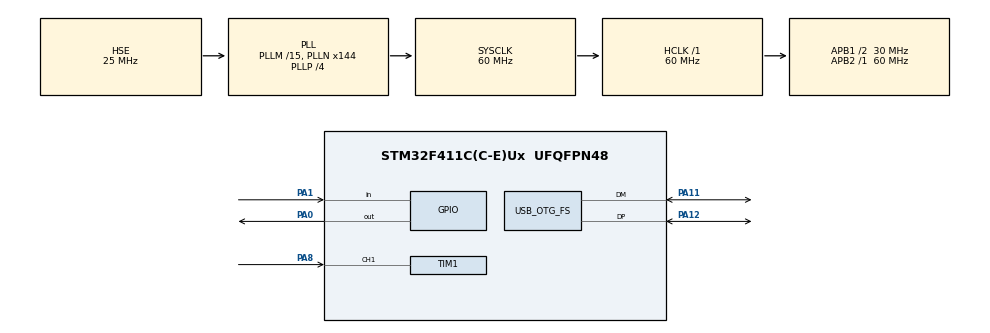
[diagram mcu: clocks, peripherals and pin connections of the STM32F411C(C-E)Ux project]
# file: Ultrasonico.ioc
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Mcu.Family=STM32F4
Mcu.Name=STM32F411C(C-E)Ux
Mcu.Package=UFQFPN48
NVIC.OTG_FS_IRQn=true\:0\:0\:false\:false\:true\:false\:true\:true
NVIC.PriorityGroup=NVIC_PRIORITYGROUP_4
NVIC.TIM1_CC_IRQn=true\:0\:0\:false\:false\:true\:true\:true\:true
PA0-WKUP.Signal=GPIO_Output
PA1.Signal=GPIO_Input
PA11.Mode=Device_Only
PA11.Signal=USB_OTG_FS_DM
PA12.Mode=Device_Only
PA12.Signal=USB_OTG_FS_DP
PA8.Signal=S_TIM1_CH1
PH0\ -\ OSC_IN.Mode=HSE-External-Oscillator
PH0\ -\ OSC_IN.Signal=RCC_OSC_IN
PH1\ -\ OSC_OUT.Mode=HSE-External-Oscillator
PH1\ -\ OSC_OUT.Signal=RCC_OSC_OUT
ProjectManager.HeapSize=0x200
ProjectManager.StackSize=0x400
ProjectManager.TargetToolchain=STM32CubeIDE
RCC.48MHZClocksFreq_Value=48000000
RCC.AHBFreq_Value=60000000
RCC.APB1CLKDivider=RCC_HCLK_DIV2
RCC.APB1Freq_Value=30000000
RCC.APB1TimFreq_Value=60000000
RCC.APB2Freq_Value=60000000
RCC.APB2TimFreq_Value=60000000
RCC.CortexFreq_Value=60000000
RCC.HCLKFreq_Value=60000000
RCC.HSE_VALUE=25000000
RCC.HSI_VALUE=16000000
RCC.LSE_VALUE=32768
RCC.PLLM=15
RCC.PLLN=144
RCC.PLLP=RCC_PLLP_DIV4
RCC.PLLQ=5
RCC.SYSCLKFreq_VALUE=60000000
RCC.SYSCLKSource=RCC_SYSCLKSOURCE_PLLCLK
RCC.VCOOutputFreq_Value=240000000
SH.S_TIM1_CH1.0=TIM1_CH1,Input_Capture1_from_TI1
TIM1.Channel-Input_Capture1_from_TI1=TIM_CHANNEL_1
TIM1.Prescaler=71
USB_DEVICE.CLASS_NAME_FS=CDC
USB_DEVICE.VirtualMode=Cdc
USB_DEVICE.VirtualModeFS=Cdc_FS
USB_OTG_FS.VirtualMode=Device_Only
VP_USB_DEVICE_VS_USB_DEVICE_CDC_FS.Mode=CDC_FS
board=custom

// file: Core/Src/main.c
/* USER CODE BEGIN Header */
/**
  ******************************************************************************
  * @file           : main.c
  * @brief          : Main program body
  ******************************************************************************
  * @attention
  *
  * Copyright (c) 2024 STMicroelectronics.
  * All rights reserved.
  *
  * This software is licensed under terms that can be found in the LICENSE file
  * in the root directory of this software component.
  * If no LICENSE file comes with this software, it is provided AS-IS.
  *
  ******************************************************************************
  */
/* USER CODE END Header */
#include "main.h"
#include "usb_device.h"

/* USER CODE BEGIN Includes */
#define TRIG_PIN GPIO_PIN_0
#define ECHO_PIN GPIO_PIN_1
#define TRIG_PORT GPIOA
#define ECHO_PORT GPIOA
#include "usbd_cdc_if.h"
#include "stdio.h"
/* USER CODE END Includes */

TIM_HandleTypeDef htim1;

void SystemClock_Config(void);
static void MX_GPIO_Init(void);
static void MX_TIM1_Init(void);

/* USER CODE BEGIN 0 */
volatile uint32_t startTime = 0;
volatile uint32_t endTime = 0;
volatile uint8_t distanceMeasured = 0;

// Función para calcular la distancia
float HCSR04_ReadDistance(void) {
    HAL_GPIO_WritePin(TRIG_PORT, TRIG_PIN, GPIO_PIN_SET);
    HAL_Delay(1);  // 10us de pulso
    HAL_GPIO_WritePin(TRIG_PORT, TRIG_PIN, GPIO_PIN_RESET);
    while (!distanceMeasured);
    distanceMeasured = 0;

    uint32_t timeElapsed = endTime - startTime;
    float distance = (timeElapsed * 0.0343) / 2;  // Tiempo a distancia en cm

    // Convertir distancia a string y enviar por USB
    char buffer[100];
    int length = snprintf(buffer, sizeof(buffer), "Distancia: %.2f cm\r\n", distance);
    CDC_Transmit_FS((uint8_t*)buffer, length);

    return distance;
}
/* USER CODE END 0 */

int main(void)
{

  /* MCU Configuration--------------------------------------------------------*/

  /* Reset of all peripherals, Initializes the Flash interface and the Systick. */
  HAL_Init();

  /* Configure the system clock */
  SystemClock_Config();

  /* Initialize all configured peripherals */
  MX_GPIO_Init();
  MX_TIM1_Init();
  MX_USB_DEVICE_Init();

  /* Infinite loop */
  while (1)
  {
      float distance = HCSR04_ReadDistance();
      HAL_Delay(500);  // Espera de medio segundo entre lecturas
  }
}

void SystemClock_Config(void)
{
  RCC_OscInitTypeDef RCC_OscInitStruct = {0};
  RCC_ClkInitTypeDef RCC_ClkInitStruct = {0};

  /** Configure the main internal regulator output voltage
  */
  __HAL_RCC_PWR_CLK_ENABLE();
  __HAL_PWR_VOLTAGESCALING_CONFIG(PWR_REGULATOR_VOLTAGE_SCALE1);

  /** Initializes the RCC Oscillators according to the specified parameters
  * in the RCC_OscInitTypeDef structure.
  */
  RCC_OscInitStruct.OscillatorType = RCC_OSCILLATORTYPE_HSE;
  RCC_OscInitStruct.HSEState = RCC_HSE_ON;
  RCC_OscInitStruct.PLL.PLLState = RCC_PLL_ON;
  RCC_OscInitStruct.PLL.PLLSource = RCC_PLLSOURCE_HSE;
  RCC_OscInitStruct.PLL.PLLM = 15;
  RCC_OscInitStruct.PLL.PLLN = 144;
  RCC_OscInitStruct.PLL.PLLP = RCC_PLLP_DIV4;
  RCC_OscInitStruct.PLL.PLLQ = 5;
  if (HAL_RCC_OscConfig(&RCC_OscInitStruct) != HAL_OK)
  {
    Error_Handler();
  }

  /** Initializes the CPU, AHB and APB buses clocks
  */
  RCC_ClkInitStruct.ClockType = RCC_CLOCKTYPE_HCLK|RCC_CLOCKTYPE_SYSCLK
                              |RCC_CLOCKTYPE_PCLK1|RCC_CLOCKTYPE_PCLK2;
  RCC_ClkInitStruct.SYSCLKSource = RCC_SYSCLKSOURCE_PLLCLK;
  RCC_ClkInitStruct.AHBCLKDivider = RCC_SYSCLK_DIV1;
  RCC_ClkInitStruct.APB1CLKDivider = RCC_HCLK_DIV2;
  RCC_ClkInitStruct.APB2CLKDivider = RCC_HCLK_DIV1;

  if (HAL_RCC_ClockConfig(&RCC_ClkInitStruct, FLASH_LATENCY_1) != HAL_OK)
  {
    Error_Handler();
  }
}

static void MX_TIM1_Init(void)
{

  TIM_MasterConfigTypeDef sMasterConfig = {0};
  TIM_IC_InitTypeDef sConfigIC = {0};

  htim1.Instance = TIM1;
  htim1.Init.Prescaler = 71;
  htim1.Init.CounterMode = TIM_COUNTERMODE_UP;
  htim1.Init.Period = 65535;
  htim1.Init.ClockDivision = TIM_CLOCKDIVISION_DIV1;
  htim1.Init.RepetitionCounter = 0;
  htim1.Init.AutoReloadPreload = TIM_AUTORELOAD_PRELOAD_DISABLE;
  if (HAL_TIM_IC_Init(&htim1) != HAL_OK)
  {
    Error_Handler();
  }
  sMasterConfig.MasterOutputTrigger = TIM_TRGO_RESET;
  sMasterConfig.MasterSlaveMode = TIM_MASTERSLAVEMODE_DISABLE;
  if (HAL_TIMEx_MasterConfigSynchronization(&htim1, &sMasterConfig) != HAL_OK)
  {
    Error_Handler();
  }
  sConfigIC.ICPolarity = TIM_INPUTCHANNELPOLARITY_RISING;
  sConfigIC.ICSelection = TIM_ICSELECTION_DIRECTTI;
  sConfigIC.ICPrescaler = TIM_ICPSC_DIV1;
  sConfigIC.ICFilter = 0;
  if (HAL_TIM_IC_ConfigChannel(&htim1, &sConfigIC, TIM_CHANNEL_1) != HAL_OK)
  {
    Error_Handler();
  }

}

static void MX_GPIO_Init(void)
{
  GPIO_InitTypeDef GPIO_InitStruct = {0};

  /* GPIO Ports Clock Enable */
  __HAL_RCC_GPIOH_CLK_ENABLE();
  __HAL_RCC_GPIOA_CLK_ENABLE();

  /*Configure GPIO pin Output Level */
  HAL_GPIO_WritePin(GPIOA, GPIO_PIN_0, GPIO_PIN_RESET);

  /*Configure GPIO pin : PA0 */
  GPIO_InitStruct.Pin = GPIO_PIN_0;
  GPIO_InitStruct.Mode = GPIO_MODE_OUTPUT_PP;
  GPIO_InitStruct.Pull = GPIO_NOPULL;
  GPIO_InitStruct.Speed = GPIO_SPEED_FREQ_LOW;
  HAL_GPIO_Init(GPIOA, &GPIO_InitStruct);

  /*Configure GPIO pin : PA1 */
  GPIO_InitStruct.Pin = GPIO_PIN_1;
  GPIO_InitStruct.Mode = GPIO_MODE_INPUT;
  GPIO_InitStruct.Pull = GPIO_NOPULL;
  HAL_GPIO_Init(GPIOA, &GPIO_InitStruct);

}

/* USER CODE BEGIN 4 */
// Interrupción de captura para el pin Echo
void HAL_GPIO_EXTI_Callback(uint16_t GPIO_Pin) {
    if (GPIO_Pin == ECHO_PIN) {
        if (HAL_GPIO_ReadPin(ECHO_PORT, ECHO_PIN) == GPIO_PIN_SET) {
            startTime = __HAL_TIM_GET_COUNTER(&htim1);  // Marca de tiempo inicial
        } else {
            endTime = __HAL_TIM_GET_COUNTER(&htim1);  // Marca de tiempo final
            distanceMeasured = 1;  // Señal de que la medición está lista
        }
    }
}
/* USER CODE END 4 */

void Error_Handler(void)
{
  __disable_irq();
  while (1)
  {
  }
}
